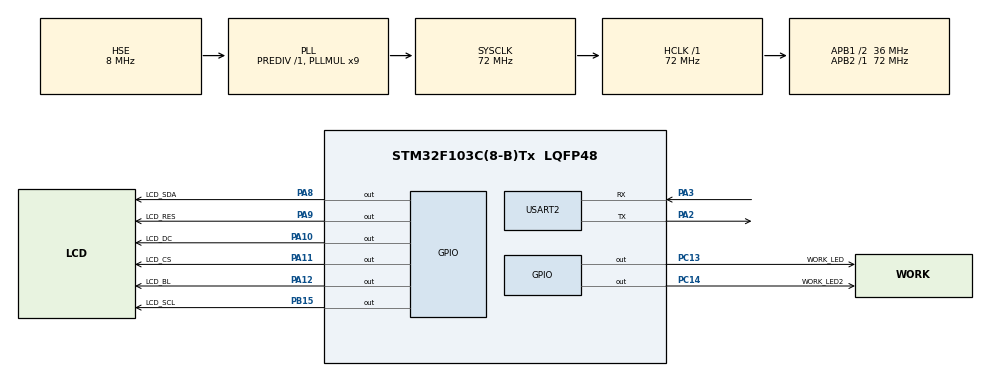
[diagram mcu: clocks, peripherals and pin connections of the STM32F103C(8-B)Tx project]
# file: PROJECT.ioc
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Mcu.Family=STM32F1
Mcu.Name=STM32F103C(8-B)Tx
Mcu.Package=LQFP48
NVIC.PriorityGroup=NVIC_PRIORITYGROUP_4
NVIC.USART2_IRQn=true\:0\:0\:false\:false\:true\:true\:true\:true
PA10.GPIO_Label=LCD_DC
PA10.Signal=GPIO_Output
PA11.GPIO_Label=LCD_CS
PA11.Signal=GPIO_Output
PA12.GPIO_Label=LCD_BL
PA12.Signal=GPIO_Output
PA13.Mode=Serial_Wire
PA13.Signal=SYS_JTMS-SWDIO
PA14.Mode=Serial_Wire
PA14.Signal=SYS_JTCK-SWCLK
PA2.Mode=Asynchronous
PA2.Signal=USART2_TX
PA3.Mode=Asynchronous
PA3.Signal=USART2_RX
PA8.GPIO_Label=LCD_SDA
PA8.Signal=GPIO_Output
PA9.GPIO_Label=LCD_RES
PA9.Signal=GPIO_Output
PB15.GPIO_Label=LCD_SCL
PB15.Signal=GPIO_Output
PC13-TAMPER-RTC.GPIO_Label=WORK_LED
PC13-TAMPER-RTC.PinState=GPIO_PIN_SET
PC13-TAMPER-RTC.Signal=GPIO_Output
PC14-OSC32_IN.GPIO_Label=WORK_LED2
PC14-OSC32_IN.PinState=GPIO_PIN_SET
PC14-OSC32_IN.Signal=GPIO_Output
PD0-OSC_IN.Mode=HSE-External-Oscillator
PD0-OSC_IN.Signal=RCC_OSC_IN
PD1-OSC_OUT.Mode=HSE-External-Oscillator
PD1-OSC_OUT.Signal=RCC_OSC_OUT
ProjectManager.HeapSize=0x200
ProjectManager.StackSize=0x400
ProjectManager.TargetToolchain=MDK-ARM V5
RCC.AHBFreq_Value=72000000
RCC.APB1CLKDivider=RCC_HCLK_DIV2
RCC.APB1Freq_Value=36000000
RCC.APB1TimFreq_Value=72000000
RCC.APB2Freq_Value=72000000
RCC.APB2TimFreq_Value=72000000
RCC.HCLKFreq_Value=72000000
RCC.PLLMUL=RCC_PLL_MUL9
RCC.PLLSourceVirtual=RCC_PLLSOURCE_HSE
RCC.SYSCLKFreq_VALUE=72000000
RCC.SYSCLKSource=RCC_SYSCLKSOURCE_PLLCLK
RCC.USBFreq_Value=72000000
USART2.VirtualMode=VM_ASYNC
board=custom

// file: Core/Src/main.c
/* USER CODE BEGIN Header */
/**
  ******************************************************************************
  * @file           : main.c
  * @brief          : Main program body
  ******************************************************************************
  * @attention
  *
  * Copyright (c) 2023 STMicroelectronics.
  * All rights reserved.
  *
  * This software is licensed under terms that can be found in the LICENSE file
  * in the root directory of this software component.
  * If no LICENSE file comes with this software, it is provided AS-IS.
  *
  ******************************************************************************
  */
/* USER CODE END Header */
#include "main.h"
#include "usart.h"
#include "gpio.h"

/* USER CODE BEGIN Includes */
#include "image.h"
#include "lcd.h"
#include "lcd_init.h"
#include "stdio.h"
#include "string.h"
#ifdef __GNUC__
#define PUTCHAR_PROTOTYPE int __io_putchar(int ch)
#else
#define PUTCHAR_PROTOTYPE int fputc(int ch, FILE *f)
#endif /* __GNUC__ */
PUTCHAR_PROTOTYPE
{

HAL_UART_Transmit(&huart2,(uint8_t *)&ch, 1, 0xFFFF);
return ch;
}

/* USER CODE END Includes */

void SystemClock_Config(void);

/* USER CODE BEGIN 0 */
  uint8_t Rx_data = 0;
	#define BUFFER_SIZE 256
	#define END_CHAR '\n'

	uint8_t rx_buffer[BUFFER_SIZE];
	uint8_t rx_index=0;

	void process_data(uint8_t *data,uint16_t length)
{
	if(strstr((char*)data,"\"LEDSTATE\":1"))
	{
		HAL_GPIO_WritePin(GPIOC,GPIO_PIN_14,GPIO_PIN_RESET);
		//printf("LED1 ON\r\n");
		//printf("send \"on\" ok\r\n");
		memset(rx_buffer,0,BUFFER_SIZE);

	}
	else if(strstr((char*)data,"\"LEDSTATE\":0"))
	{
		HAL_GPIO_WritePin(GPIOC,GPIO_PIN_14,GPIO_PIN_SET);
		//printf("LED1 OFF\r\n");
		//printf("send \"off\" ok\r\n");
		memset(rx_buffer,0,BUFFER_SIZE);
	}
	if(strstr((char*)data,"\"Switch\":0"))
	{
		//__HAL_TIM_SET_COMPARE(&htim2,TIM_CHANNEL_1,1500);
		//printf("send \"on\" ok\r\n");
		memset(rx_buffer,0,BUFFER_SIZE);

	}
	else if(strstr((char*)data,"\"Switch\":1"))
	{
		//__HAL_TIM_SET_COMPARE(&htim2,TIM_CHANNEL_1,500);
		//printf("send \"off\" ok\r\n");
		memset(rx_buffer,0,BUFFER_SIZE);
	}

}

void HAL_UART_RxCpltCallback(UART_HandleTypeDef *huart)
{
	if(huart->Instance == USART2)//仅处理中断1
	{
		if(rx_index < BUFFER_SIZE - 1)//缓冲区还有空间
		{
			if(rx_buffer[rx_index-1] != END_CHAR)//如果上一符号不是结束字符
			{
				rx_buffer[rx_index++]=(uint8_t)(huart->Instance->DR &0X00FF);

			}
			if(rx_buffer[rx_index-1] == END_CHAR)//如果上一符号是结束字符
			{
				process_data(rx_buffer ,rx_index-1);
				rx_index=0;

			}
		}
		else
		{
			rx_index = 0;
			memset(rx_buffer,0,BUFFER_SIZE);
		}
		HAL_UART_Receive_IT(&huart2,&Rx_data,1);
	}

}
/* USER CODE END 0 */

int main(void)
{

  /* MCU Configuration--------------------------------------------------------*/

  /* Reset of all peripherals, Initializes the Flash interface and the Systick. */
  HAL_Init();

  /* Configure the system clock */
  SystemClock_Config();

  /* Initialize all configured peripherals */
  MX_GPIO_Init();
  MX_USART2_UART_Init();
  /* USER CODE BEGIN 2 */
	LCD_Init();
	LCD_Fill(0,0,128,160,BLACK);

	int XMP_ph=0;
	int XMP_water=0;
	int temperature=0;
	int humidity=0;

	LCD_ShowString(5,5,(const uint8_t *)"Loopy",GREEN,WHITE,24,1);
	Paint_DrawImage(gImage_LOOPY2,0, 35, 128, 127);
	HAL_UART_Receive_IT(&huart2, (uint8_t *)rx_buffer,1);
	HAL_Delay(1000);
	/**
	以下部分填上自己阿里云的信息
	**/
	printf("AT+CWJAP=\"XMP\",\"1234567xmpm2\"\r\n");
	HAL_Delay(3000);
	printf("AT+MQTTUSERCFG=0,1,\"NULL\",\r\n");
	HAL_Delay(1500);
	printf("AT+MQTTCLIENTID=0,\r\n");
	HAL_Delay(1000);
	printf("AT+MQTTCONN=0,,1883,1\r\n");
	HAL_Delay(2000);
	printf("AT+MQTTSUB=0,,1\r\n");
	HAL_Delay(1500);
  /* USER CODE END 2 */

  /* Infinite loop */
  while (1)
  {

    /* USER CODE BEGIN 3 */
		HAL_GPIO_WritePin(GPIOC,GPIO_PIN_13,GPIO_PIN_RESET);

		HAL_Delay(200);
		HAL_GPIO_WritePin(GPIOC,GPIO_PIN_13,GPIO_PIN_SET);
		/**
		以下部分填上自己的阿里云信息
		**/
		printf("AT+MQTTPUB=0,,\"{\\\"tem\\\":%d\\,\\\"hum\\\":%d}\",1,0\r\n",temperature,humidity);
		HAL_Delay(1000);
		temperature++;
		humidity++;
  }
  /* USER CODE END 3 */
}

void SystemClock_Config(void)
{
  RCC_OscInitTypeDef RCC_OscInitStruct = {0};
  RCC_ClkInitTypeDef RCC_ClkInitStruct = {0};

  /** Initializes the RCC Oscillators according to the specified parameters
  * in the RCC_OscInitTypeDef structure.
  */
  RCC_OscInitStruct.OscillatorType = RCC_OSCILLATORTYPE_HSE;
  RCC_OscInitStruct.HSEState = RCC_HSE_ON;
  RCC_OscInitStruct.HSEPredivValue = RCC_HSE_PREDIV_DIV1;
  RCC_OscInitStruct.HSIState = RCC_HSI_ON;
  RCC_OscInitStruct.PLL.PLLState = RCC_PLL_ON;
  RCC_OscInitStruct.PLL.PLLSource = RCC_PLLSOURCE_HSE;
  RCC_OscInitStruct.PLL.PLLMUL = RCC_PLL_MUL9;
  if (HAL_RCC_OscConfig(&RCC_OscInitStruct) != HAL_OK)
  {
    Error_Handler();
  }

  /** Initializes the CPU, AHB and APB buses clocks
  */
  RCC_ClkInitStruct.ClockType = RCC_CLOCKTYPE_HCLK|RCC_CLOCKTYPE_SYSCLK
                              |RCC_CLOCKTYPE_PCLK1|RCC_CLOCKTYPE_PCLK2;
  RCC_ClkInitStruct.SYSCLKSource = RCC_SYSCLKSOURCE_PLLCLK;
  RCC_ClkInitStruct.AHBCLKDivider = RCC_SYSCLK_DIV1;
  RCC_ClkInitStruct.APB1CLKDivider = RCC_HCLK_DIV2;
  RCC_ClkInitStruct.APB2CLKDivider = RCC_HCLK_DIV1;

  if (HAL_RCC_ClockConfig(&RCC_ClkInitStruct, FLASH_LATENCY_2) != HAL_OK)
  {
    Error_Handler();
  }
}

/* USER CODE BEGIN 4 */
int fputc(int ch,FILE *f)
{
	HAL_UART_Transmit(&huart2,(uint8_t*)&(ch),1,1000);
	return (ch);
}
/* USER CODE END 4 */

void Error_Handler(void)
{
  __disable_irq();
  while (1)
  {
  }
}
